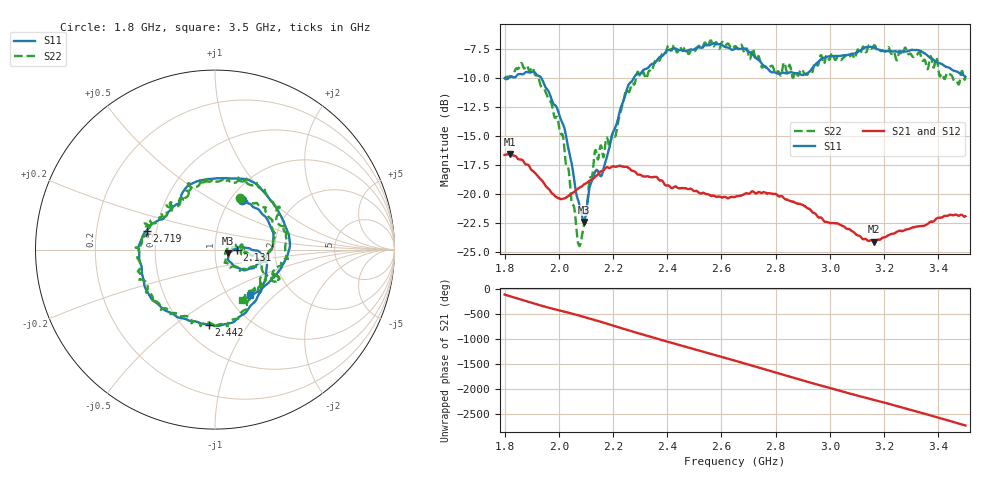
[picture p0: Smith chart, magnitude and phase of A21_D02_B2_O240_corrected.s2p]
! Created with skrf 1.9.0 (http://scikit-rf.org).
# Hz S RI R 50.0
!freq ReS11 ImS11 ReS21 ImS21 ReS12 ImS12 ReS22 ImS22
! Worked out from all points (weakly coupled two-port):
!   1601 points, 1.8 GHz to 3.5 GHz, reference 50 ohm
!   highest |S21| = -16.53 dB at 1.82 GHz (marker M1); lowest = -24.1 dB at 3.163 GHz (marker M2)
!   lowest |S11| = -22.4 dB at 2.093 GHz (marker M3), VSWR 1.16, Z = 57.8 - j2.51 ohm
!   |S11| at or under -10 dB: 1.8 GHz to 1.814 GHz (13.36 MHz wide, 0.74 % of centre); 1.936 GHz to 2.276 GHz (339.8 MHz wide, 16.1 % of centre)
!   |S22| runs from -24.5 to -6.7 dB; largest |S21 - S12| = 0.0025
!   S11 on the Smith chart (normalised r, x): 1.8 GHz: 1.13, +0.70; 2.131 GHz: 1.28, -0.01; 2.442 GHz: 0.66, -0.67; 2.719 GHz: 0.44, +0.11; 3.5 GHz: 1.26, -0.71
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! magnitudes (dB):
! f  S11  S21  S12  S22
! 1.8 GHz  -10.0  -16.6  -16.6  -9.9
! 1.82 GHz  -9.9  -16.5  -16.6  -9.8
! 1.902 GHz  -9.4  -18.0  -17.9  -9.1
! 1.968 GHz  -11.4  -19.7  -19.7  -12.0
! 2.021 GHz  -14.3  -20.4  -20.4  -16.2
! 2.071 GHz  -20.5  -19.5  -19.5  -24.2
! 2.084 GHz  -21.7  -19.3  -19.3  -23.8
! 2.093 GHz  -22.4  -19.1  -19.2  -22.6
! 2.131 GHz  -18.2  -18.6  -18.5  -16.5
! 2.161 GHz  -18.2  -18.0  -17.9  -16.5
! 2.209 GHz  -14.2  -17.6  -17.6  -15.0
! 2.259 GHz  -10.5  -17.7  -17.7  -11.2
! 2.367 GHz  -8.3  -18.7  -18.6  -8.5
! 2.442 GHz  -7.6  -19.5  -19.5  -7.5
! 2.65 GHz  -7.5  -20.2  -20.2  -7.2
! 2.719 GHz  -8.1  -19.8  -19.7  -7.6
! 2.808 GHz  -9.6  -20.1  -20.1  -9.4
! 2.934 GHz  -9.2  -21.5  -21.5  -9.5
! 3.163 GHz  -7.3  -24.1  -24.0  -7.2
! 3.217 GHz  -7.7  -23.5  -23.5  -7.4
! 3.329 GHz  -7.6  -22.8  -22.8  -7.8
! 3.5 GHz  -9.9  -21.9  -21.9  -9.9
